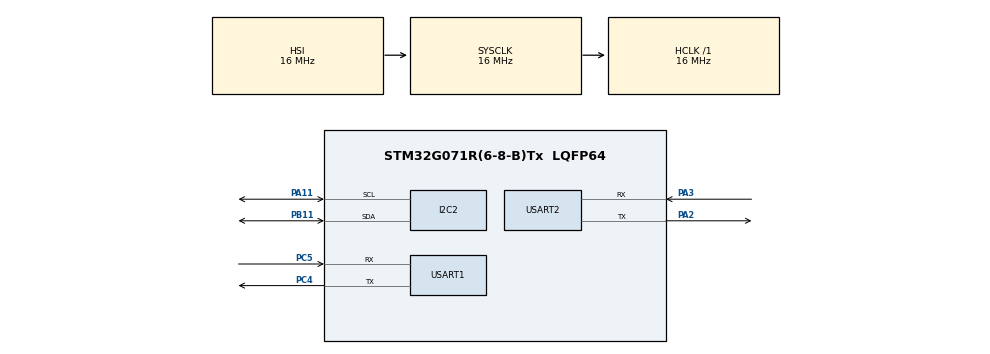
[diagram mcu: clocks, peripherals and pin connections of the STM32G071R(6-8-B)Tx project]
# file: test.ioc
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I2C2.Timing=0x00503D58
Mcu.Family=STM32G0
Mcu.Name=STM32G071R(6-8-B)Tx
Mcu.Package=LQFP64
PA11\ [PA9].Mode=I2C
PA11\ [PA9].Signal=I2C2_SCL
PA2.Mode=Asynchronous
PA2.Signal=USART2_TX
PA3.Mode=Asynchronous
PA3.Signal=USART2_RX
PB11.Mode=I2C
PB11.Signal=I2C2_SDA
PC4.Mode=Asynchronous
PC4.Signal=USART1_TX
PC5.Mode=Asynchronous
PC5.Signal=USART1_RX
ProjectManager.HeapSize=0x200
ProjectManager.StackSize=0x400
ProjectManager.TargetToolchain=STM32CubeIDE
RCC.AHBFreq_Value=16000000
RCC.CortexFreq_Value=16000000
RCC.EXTERNAL_CLOCK_VALUE=12288000
RCC.HCLKFreq_Value=16000000
RCC.HSE_VALUE=8000000
RCC.HSI_VALUE=16000000
RCC.SYSCLKFreq_VALUE=16000000
RCC.VCOOutputFreq_Value=128000000
USART1.VirtualMode-Asynchronous=VM_ASYNC
USART2.VirtualMode-Asynchronous=VM_ASYNC
board=NUCLEO-G071RB

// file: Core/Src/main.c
/* USER CODE BEGIN Header */
/**
  ******************************************************************************
  * @file           : main.c
  * @brief          : Main program body
  ******************************************************************************
  * @attention
  *
  * Copyright (c) 2026 STMicroelectronics.
  * All rights reserved.
  *
  * This software is licensed under terms that can be found in the LICENSE file
  * in the root directory of this software component.
  * If no LICENSE file comes with this software, it is provided AS-IS.
  *
  ******************************************************************************
  */
/* USER CODE END Header */
#include "main.h"
#include <stdio.h>
#include <string.h>

/* USER CODE BEGIN Includes */
#define MPU6050_ADDR (0x68 << 1)

extern I2C_HandleTypeDef hi2c1;

uint8_t buffer[14];
char uart_buf[100];

int16_t AccX, AccY, AccZ;
int16_t GyroX, GyroY, GyroZ;

float Ax, Ay, Az;
float Gx, Gy, Gz;

float angleX, angleY;
/* USER CODE END Includes */

I2C_HandleTypeDef hi2c2;

UART_HandleTypeDef huart1;
UART_HandleTypeDef huart2;

void SystemClock_Config(void);
static void MX_GPIO_Init(void);
static void MX_I2C2_Init(void);
static void MX_USART1_UART_Init(void);
static void MX_USART2_UART_Init(void);

/* USER CODE BEGIN 0 */
void MPU6050_Init()
{
    uint8_t data = 0x00;  // wake up

    HAL_I2C_Mem_Write(&hi2c2,
                      MPU6050_ADDR,
                      0x6B,   // PWR_MGMT_1
                      1,
                      &data,
                      1,
                      1000);
}

void MPU6050_Read()
{
	HAL_I2C_Mem_Read(&hi2c2, MPU6050_ADDR, 0x3B, 1, buffer, 14, 1000);

    	    // Combine bytes (NO confusion method)
    	    AccX = (buffer[0] << 8) | buffer[1];
    	    AccY = (buffer[2] << 8) | buffer[3];
    	    AccZ = (buffer[4] << 8) | buffer[5];

    	    GyroX = (buffer[8] << 8) | buffer[9];
    	    GyroY = (buffer[10] << 8) | buffer[11];
    	    GyroZ = (buffer[12] << 8) | buffer[13];
    	}

void MPU6050_Convert()
{
    // Accelerometer (±2g → 16384)
    Ax = AccX / 16384.0;
    Ay = AccY / 16384.0;
    Az = AccZ / 16384.0;

    // Gyroscope (±250°/s → 131)
    Gx = GyroX / 131.0;
    Gy = GyroY / 131.0;
    Gz = GyroZ / 131.0;
}

void MPU6050_Angle()
{
    angleX = atan2(Ay, Az) * 57.3;
    angleY = atan2(Ax, Az) * 57.3;
}

/* USER CODE END 0 */

int main(void)
{

  /* MCU Configuration--------------------------------------------------------*/

  /* Reset of all peripherals, Initializes the Flash interface and the Systick. */
  HAL_Init();

  /* Configure the system clock */
  SystemClock_Config();

  /* Initialize all configured peripherals */
  MX_GPIO_Init();
  MX_I2C2_Init();
  MX_USART1_UART_Init();
  MX_USART2_UART_Init();
  /* USER CODE BEGIN 2 */
  MPU6050_Init();

  /* USER CODE END 2 */

  /* Infinite loop */
  while (1)
  {

    /* USER CODE BEGIN 3 */
	    MPU6050_Read();
	    MPU6050_Convert();
	    MPU6050_Angle();

	    // ✅ move these two lines here
	    int ax = (int)(Ax * 100);
	    int ay = (int)(Ay * 100);
	    int az = (int)(Az * 100);
	    int gx = (int)(Gx * 100);
	    int gy = (int)(Gy * 100);
	    int gz = (int)(Gz * 100);

	    sprintf(uart_buf, "AX:%d.%02d AY:%d.%02d AZ:%d.%02d GX:%d.%02d GY:%d.%02d GZ:%d.%02d\r\n",
	            ax/100, abs(ax%100),
	            ay/100, abs(ay%100),
	            az/100, abs(az%100),
	            gx/100, abs(gx%100),
	            gy/100, abs(gy%100),
	            gz/100, abs(gz%100));

	    HAL_UART_Transmit(&huart2,
	                      (uint8_t*)uart_buf,
	                      strlen(uart_buf),
	                      100);

	    HAL_Delay(100);
  }

  /* USER CODE END 3 */
}

void SystemClock_Config(void)
{
  RCC_OscInitTypeDef RCC_OscInitStruct = {0};
  RCC_ClkInitTypeDef RCC_ClkInitStruct = {0};

  /** Configure the main internal regulator output voltage
  */
  HAL_PWREx_ControlVoltageScaling(PWR_REGULATOR_VOLTAGE_SCALE1);

  /** Initializes the RCC Oscillators according to the specified parameters
  * in the RCC_OscInitTypeDef structure.
  */
  RCC_OscInitStruct.OscillatorType = RCC_OSCILLATORTYPE_HSI;
  RCC_OscInitStruct.HSIState = RCC_HSI_ON;
  RCC_OscInitStruct.HSIDiv = RCC_HSI_DIV1;
  RCC_OscInitStruct.HSICalibrationValue = RCC_HSICALIBRATION_DEFAULT;
  RCC_OscInitStruct.PLL.PLLState = RCC_PLL_NONE;
  if (HAL_RCC_OscConfig(&RCC_OscInitStruct) != HAL_OK)
  {
    Error_Handler();
  }

  /** Initializes the CPU, AHB and APB buses clocks
  */
  RCC_ClkInitStruct.ClockType = RCC_CLOCKTYPE_HCLK|RCC_CLOCKTYPE_SYSCLK
                              |RCC_CLOCKTYPE_PCLK1;
  RCC_ClkInitStruct.SYSCLKSource = RCC_SYSCLKSOURCE_HSI;
  RCC_ClkInitStruct.AHBCLKDivider = RCC_SYSCLK_DIV1;
  RCC_ClkInitStruct.APB1CLKDivider = RCC_HCLK_DIV1;

  if (HAL_RCC_ClockConfig(&RCC_ClkInitStruct, FLASH_LATENCY_0) != HAL_OK)
  {
    Error_Handler();
  }
}

static void MX_I2C2_Init(void)
{

  hi2c2.Instance = I2C2;
  hi2c2.Init.Timing = 0x00503D58;
  hi2c2.Init.OwnAddress1 = 0;
  hi2c2.Init.AddressingMode = I2C_ADDRESSINGMODE_7BIT;
  hi2c2.Init.DualAddressMode = I2C_DUALADDRESS_DISABLE;
  hi2c2.Init.OwnAddress2 = 0;
  hi2c2.Init.OwnAddress2Masks = I2C_OA2_NOMASK;
  hi2c2.Init.GeneralCallMode = I2C_GENERALCALL_DISABLE;
  hi2c2.Init.NoStretchMode = I2C_NOSTRETCH_DISABLE;
  if (HAL_I2C_Init(&hi2c2) != HAL_OK)
  {
    Error_Handler();
  }

  /** Configure Analogue filter
  */
  if (HAL_I2CEx_ConfigAnalogFilter(&hi2c2, I2C_ANALOGFILTER_ENABLE) != HAL_OK)
  {
    Error_Handler();
  }

  /** Configure Digital filter
  */
  if (HAL_I2CEx_ConfigDigitalFilter(&hi2c2, 0) != HAL_OK)
  {
    Error_Handler();
  }

}

static void MX_USART1_UART_Init(void)
{

  huart1.Instance = USART1;
  huart1.Init.BaudRate = 115200;
  huart1.Init.WordLength = UART_WORDLENGTH_8B;
  huart1.Init.StopBits = UART_STOPBITS_1;
  huart1.Init.Parity = UART_PARITY_NONE;
  huart1.Init.Mode = UART_MODE_TX_RX;
  huart1.Init.HwFlowCtl = UART_HWCONTROL_NONE;
  huart1.Init.OverSampling = UART_OVERSAMPLING_16;
  huart1.Init.OneBitSampling = UART_ONE_BIT_SAMPLE_DISABLE;
  huart1.Init.ClockPrescaler = UART_PRESCALER_DIV1;
  huart1.AdvancedInit.AdvFeatureInit = UART_ADVFEATURE_NO_INIT;
  if (HAL_UART_Init(&huart1) != HAL_OK)
  {
    Error_Handler();
  }
  if (HAL_UARTEx_SetTxFifoThreshold(&huart1, UART_TXFIFO_THRESHOLD_1_8) != HAL_OK)
  {
    Error_Handler();
  }
  if (HAL_UARTEx_SetRxFifoThreshold(&huart1, UART_RXFIFO_THRESHOLD_1_8) != HAL_OK)
  {
    Error_Handler();
  }
  if (HAL_UARTEx_DisableFifoMode(&huart1) != HAL_OK)
  {
    Error_Handler();
  }

}

static void MX_USART2_UART_Init(void)
{

  huart2.Instance = USART2;
  huart2.Init.BaudRate = 115200;
  huart2.Init.WordLength = UART_WORDLENGTH_8B;
  huart2.Init.StopBits = UART_STOPBITS_1;
  huart2.Init.Parity = UART_PARITY_NONE;
  huart2.Init.Mode = UART_MODE_TX_RX;
  huart2.Init.HwFlowCtl = UART_HWCONTROL_NONE;
  huart2.Init.OverSampling = UART_OVERSAMPLING_16;
  huart2.Init.OneBitSampling = UART_ONE_BIT_SAMPLE_DISABLE;
  huart2.Init.ClockPrescaler = UART_PRESCALER_DIV1;
  huart2.AdvancedInit.AdvFeatureInit = UART_ADVFEATURE_NO_INIT;
  if (HAL_UART_Init(&huart2) != HAL_OK)
  {
    Error_Handler();
  }
  if (HAL_UARTEx_SetTxFifoThreshold(&huart2, UART_TXFIFO_THRESHOLD_1_8) != HAL_OK)
  {
    Error_Handler();
  }
  if (HAL_UARTEx_SetRxFifoThreshold(&huart2, UART_RXFIFO_THRESHOLD_1_8) != HAL_OK)
  {
    Error_Handler();
  }
  if (HAL_UARTEx_DisableFifoMode(&huart2) != HAL_OK)
  {
    Error_Handler();
  }

}

static void MX_GPIO_Init(void)
{

  /* GPIO Ports Clock Enable */
  __HAL_RCC_GPIOA_CLK_ENABLE();
  __HAL_RCC_GPIOC_CLK_ENABLE();
  __HAL_RCC_GPIOB_CLK_ENABLE();

}

void Error_Handler(void)
{
  __disable_irq();
  while (1)
  {
  }
}
